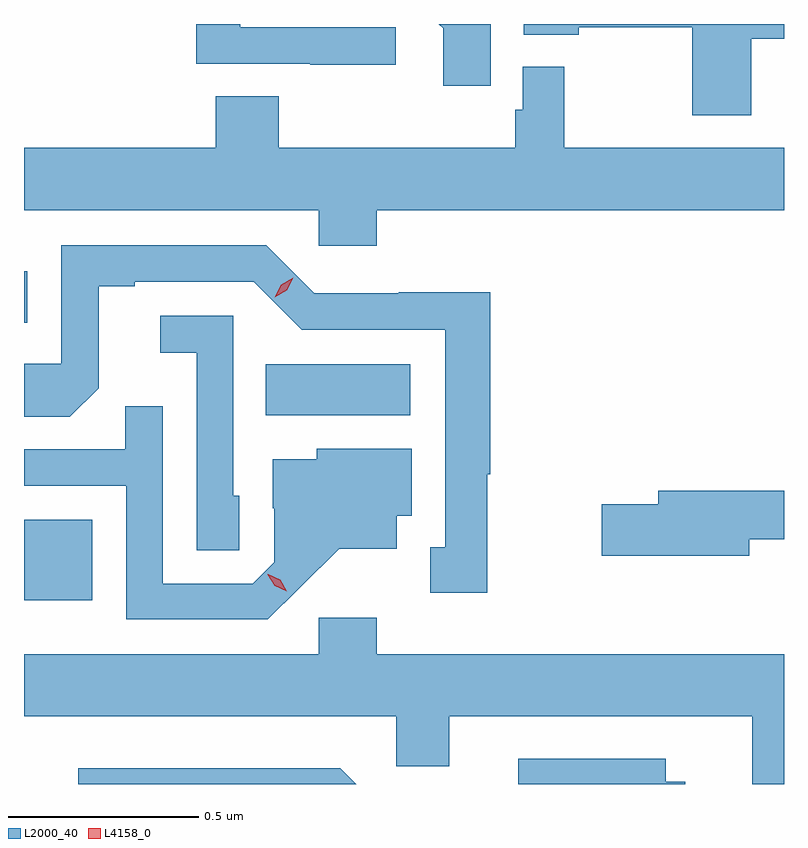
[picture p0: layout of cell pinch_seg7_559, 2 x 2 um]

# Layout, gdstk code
import gdstk
lib = gdstk.Library(unit=1e-6, precision=1e-09)
def R(c, l, rs):  # rectangles x0, y0, x1, y1
    for r in rs: c.add(gdstk.rectangle(r[:2], r[2:], *l))
def P(c, l, *ps):  # polygons
    for p in ps: c.add(gdstk.Polygon(p, *l))
L2000_40 = (2000, 40)
L4158_0 = (4158, 0)

pinch_seg7_559 = lib.new_cell('pinch_seg7_559')
R(pinch_seg7_559, L2000_40, [(149.83,1071.518,150.01,1071.73), (150.466,1072.004,150.847,1072.138), (149.83,1072.248,149.839,1072.384)])
P(pinch_seg7_559, L2000_40, [(151.744,1072.995),(151.83,1072.995),(151.83,1073.034),(151.145,1073.034),(151.145,1073.006),(151.29,1073.006),(151.29,1073.025),(151.588,1073.025),(151.588,1072.794),(151.744,1072.794)],
  [(150.808,1073.025),(150.399,1073.025),(150.399,1073.034),(150.283,1073.034),(150.283,1072.929),(150.583,1072.929),(150.583,1072.927),(150.808,1072.927)],
  [(151.058,1073.034),(150.922,1073.034),(150.933,1073.023),(150.933,1072.872),(151.058,1072.872)],
  [(150.758,1072.544),(151.83,1072.544),(151.83,1072.708),(151.252,1072.708),(151.252,1072.921),(151.143,1072.921),(151.143,1072.809),(151.123,1072.809),(151.123,1072.708),(150.5,1072.708),(150.5,1072.844),(150.335,1072.844),(150.335,1072.708),(149.83,1072.708),(149.83,1072.544),(150.606,1072.544),(150.606,1072.451),(150.758,1072.451)],
  [(151.049,1071.849),(151.057,1071.849),(151.057,1072.328),(150.816,1072.328),(150.816,1072.326),(150.594,1072.326),(150.468,1072.452),(149.928,1072.452),(149.928,1072.14),(149.83,1072.14),(149.83,1072),(149.951,1072),(150.027,1072.076),(150.027,1072.344),(150.121,1072.344),(150.121,1072.356),(150.435,1072.356),(150.561,1072.23),(150.938,1072.23),(150.938,1071.657),(150.899,1071.657),(150.899,1071.537),(151.049,1071.537)],
  [(150.396,1071.792),(150.381,1071.792),(150.381,1072.266),(150.189,1072.266),(150.189,1072.169),(150.285,1072.169),(150.285,1071.649),(150.396,1071.649)],
  [(150.556,1071.551),(150.659,1071.653),(150.811,1071.653),(150.811,1071.74),(150.85,1071.74),(150.85,1071.916),(150.6,1071.916),(150.6,1071.889),(150.485,1071.889),(150.485,1071.76),(150.489,1071.76),(150.489,1071.618),(150.432,1071.561),(150.195,1071.561),(150.195,1072.028),(150.097,1072.028),(150.097,1071.915),(149.83,1071.915),(149.83,1071.819),(150.099,1071.819),(150.099,1071.468),(150.472,1071.468)],
  [(151.738,1071.678),(151.83,1071.678),(151.83,1071.806),(151.499,1071.806),(151.499,1071.77),(151.35,1071.77),(151.35,1071.635),(151.738,1071.635)],
  [(151.83,1071.376),(150.758,1071.376),(150.758,1071.472),(150.606,1071.472),(150.606,1071.376),(149.83,1071.376),(149.83,1071.212),(150.81,1071.212),(150.81,1071.081),(150.949,1071.081),(150.949,1071.212),(151.747,1071.212),(151.747,1071.034),(151.83,1071.034)],
  [(151.57,1071.04),(151.519,1071.04),(151.519,1071.1),(151.131,1071.1),(151.131,1071.034),(151.57,1071.034)],
  [(150.662,1071.076),(149.973,1071.076),(149.973,1071.034),(150.704,1071.034)])
P(pinch_seg7_559, L4158_0, [(150.49,1072.315),(150.49,1072.315),(150.507,1072.348),(150.539,1072.366),(150.539,1072.366),(150.539,1072.366),(150.522,1072.333),(150.49,1072.315)],
  [(150.521,1071.541),(150.49,1071.556),(150.472,1071.585),(150.472,1071.586),(150.473,1071.586),(150.504,1071.571),(150.522,1071.541),(150.522,1071.541)])

lib.write_gds('pinch_seg7_559.gds')
